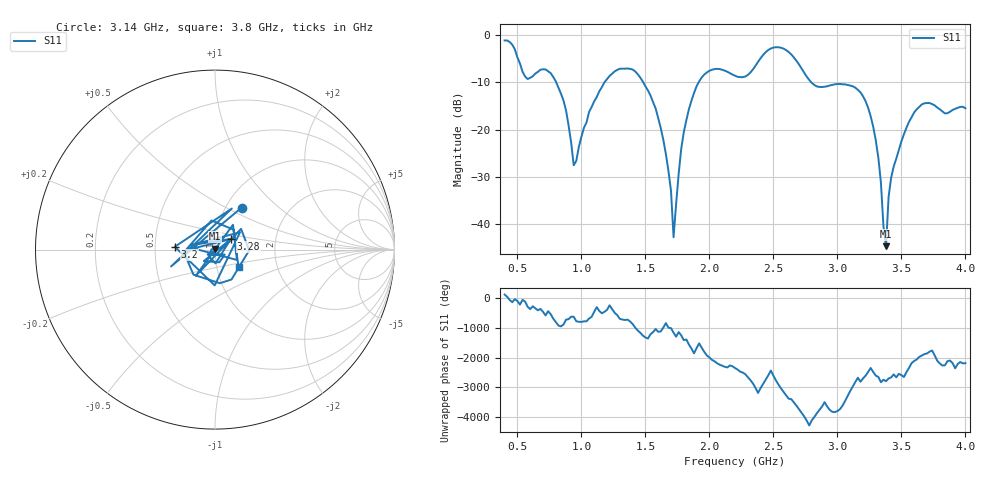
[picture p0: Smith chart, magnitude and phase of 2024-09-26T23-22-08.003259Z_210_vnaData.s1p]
!Created with skrf (http://scikit-rf.org).
# Hz S RI R 50.0
!freq ReS11 ImS11
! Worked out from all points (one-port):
!   181 points, 400 MHz to 4 GHz, reference 50 ohm
!   lowest |S11| = -44.6 dB at 3.38 GHz (marker M1), VSWR 1.01, Z = 50.1 + j0.584 ohm
!   |S11| at or under -10 dB: 802.6 MHz to 1.181 GHz (378.2 MHz wide, 38.1 % of centre); 1.482 GHz to 1.917 GHz (434.4 MHz wide, 25.6 % of centre); 2.795 GHz to end of sweep
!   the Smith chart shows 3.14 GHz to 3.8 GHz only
!   S11 on the Smith chart (normalised r, x): 3.14 GHz: 1.18, +0.60; 3.2 GHz: 0.63, +0.02; 3.28 GHz: 1.18, +0.14; 3.8 GHz: 1.27, -0.26
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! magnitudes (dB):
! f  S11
! 400 MHz  -1.2
! 560 MHz  -8.8
! 720 MHz  -7.3
! 860 MHz  -13.9
! 940 MHz  -27.5
! 1.06 GHz  -16.3
! 1.3 GHz  -7.2
! 1.58 GHz  -15.6
! 1.68 GHz  -28.8
! 1.72 GHz  -42.8
! 1.76 GHz  -29.3
! 1.82 GHz  -18.0
! 1.92 GHz  -9.8
! 2.2 GHz  -8.6
! 2.5 GHz  -2.7
! 2.66 GHz  -4.8
! 2.84 GHz  -10.9
! 3.1 GHz  -10.7
! 3.14 GHz  -11.2
! 3.2 GHz  -13.0
! 3.28 GHz  -19.4
! 3.32 GHz  -26.0
! 3.38 GHz  -44.6
! 3.4 GHz  -34.2
! 3.42 GHz  -30.2
! 3.56 GHz  -18.3
! 3.8 GHz  -15.7
! 4 GHz  -15.5
